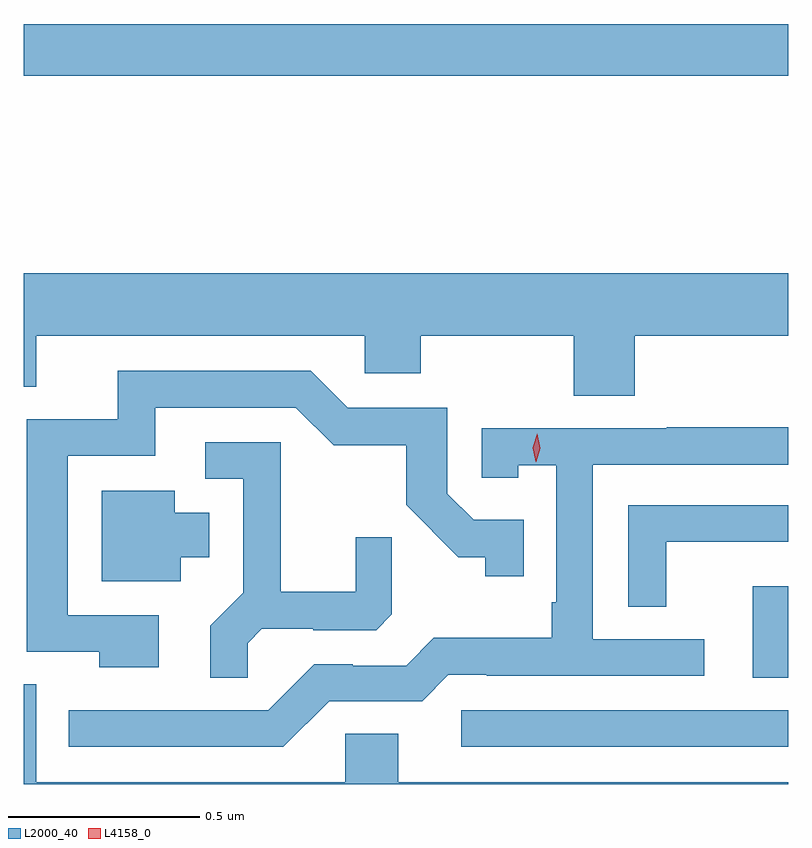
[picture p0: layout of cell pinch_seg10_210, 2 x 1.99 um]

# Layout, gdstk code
import gdstk
lib = gdstk.Library(unit=1e-6, precision=1e-09)
def R(c, l, rs):  # rectangles x0, y0, x1, y1
    for r in rs: c.add(gdstk.rectangle(r[:2], r[2:], *l))
def P(c, l, *ps):  # polygons
    for p in ps: c.add(gdstk.Polygon(p, *l))
L2000_40 = (2000, 40)
L4158_0 = (4158, 0)

pinch_seg10_210 = lib.new_cell('pinch_seg10_210')
R(pinch_seg10_210, L2000_40, [(778.755,1265.94,779.611,1266.036), (779.519,1266.121,779.611,1266.36), (777.611,1267.696,779.611,1267.832)])
P(pinch_seg10_210, L2000_40, [(779.21,1267.016),(779.611,1267.016),(779.611,1267.18),(777.611,1267.18),(777.611,1266.883),(777.643,1266.883),(777.643,1267.016),(778.503,1267.016),(778.503,1266.918),(778.65,1266.918),(778.65,1267.016),(779.05,1267.016),(779.05,1266.859),(779.21,1266.859)],
  [(777.964,1266.285),(777.726,1266.285),(777.726,1266.702),(777.955,1266.702),(777.955,1266.828),(778.323,1266.828),(778.422,1266.73),(778.611,1266.73),(778.611,1266.574),(778.748,1266.437),(778.818,1266.437),(778.818,1266.387),(778.919,1266.387),(778.919,1266.534),(778.788,1266.534),(778.719,1266.603),(778.719,1266.828),(778.458,1266.828),(778.362,1266.924),(777.857,1266.924),(777.857,1266.798),(777.618,1266.798),(777.618,1266.189),(777.808,1266.189),(777.808,1266.149),(777.964,1266.149)],
  [(778.41,1266.06),(778.653,1266.06),(778.722,1266.129),(778.822,1266.129),(778.822,1266.126),(779.392,1266.126),(779.392,1266.222),(779.1,1266.222),(779.1,1266.678),(779.611,1266.678),(779.611,1266.777),(779.293,1266.777),(779.293,1266.774),(778.809,1266.774),(778.809,1266.645),(778.905,1266.645),(778.905,1266.677),(779.004,1266.677),(779.004,1266.319),(778.992,1266.319),(778.992,1266.226),(778.684,1266.226),(778.611,1266.153),(778.472,1266.153),(778.472,1266.156),(778.371,1266.156),(778.251,1266.036),(777.728,1266.036),(777.728,1265.94),(778.29,1265.94)],
  [(778.197,1266.212),(778.234,1266.249),(778.368,1266.249),(778.368,1266.246),(778.533,1266.246),(778.574,1266.287),(778.574,1266.489),(778.48,1266.489),(778.48,1266.346),(778.283,1266.346),(778.283,1266.738),(778.086,1266.738),(778.086,1266.642),(778.185,1266.642),(778.185,1266.343),(778.099,1266.257),(778.099,1266.121),(778.197,1266.121)],
  [(778.021,1266.437),(778.096,1266.437),(778.096,1266.553),(778.006,1266.553),(778.006,1266.61),(777.815,1266.61),(777.815,1266.374),(778.021,1266.374)],
  [(779.292,1266.477),(779.611,1266.477),(779.611,1266.573),(779.193,1266.573),(779.193,1266.307),(779.292,1266.307)],
  [(779.611,1265.848),(778.591,1265.848),(778.591,1265.975),(778.452,1265.975),(778.452,1265.848),(777.643,1265.848),(777.643,1266.104),(777.611,1266.104),(777.611,1265.843),(779.611,1265.843)])
P(pinch_seg10_210, L4158_0, [(778.951,1266.686),(778.951,1266.687),(778.943,1266.723),(778.954,1266.759),(778.954,1266.759),(778.954,1266.759),(778.963,1266.722),(778.952,1266.687)])

lib.write_gds('pinch_seg10_210.gds')
